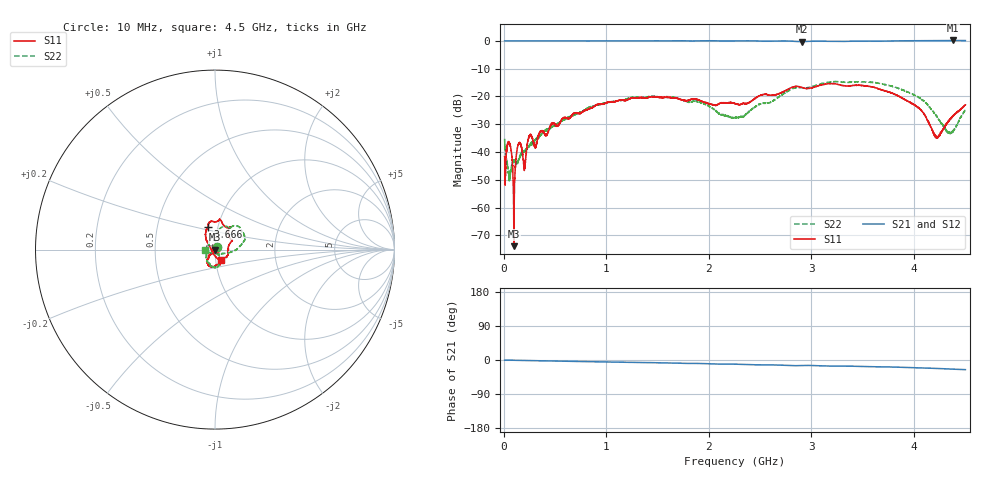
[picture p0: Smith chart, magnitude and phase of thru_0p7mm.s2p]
!Agilent Technologies,N5242A,US46520174,A.09.00.04
!Agilent N5242A: A.09.00.04
!Date: Monday, September 18, 2017 14:45:24
!Correction: S11(Full 2 Port(1,2))
!S21(Full 2 Port(1,2))
!S12(Full 2 Port(1,2))
!S22(Full 2 Port(1,2))
!S2P File: Measurements: S11, S21, S12, S22:
# Hz S  RI  R 50
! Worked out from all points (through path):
!   5001 points, 10 MHz to 4.5 GHz, reference 50 ohm
!   highest |S21| = 0.15 dB at 4.375 GHz (marker M1); lowest = -0.3 dB at 2.905 GHz (marker M2)
!   group delay of S21, straight-line fit = 14.2 ps
!   lowest |S11| = -73.9 dB at 100.7 MHz (marker M3), VSWR 1.00, Z = 50 - j0.0137 ohm
!   |S11| at or under -10 dB: start of sweep to end of sweep
!   |S22| runs from -50.7 to -14.6 dB; largest |S21 - S12| = 0.0069
!   S11 on the Smith chart (normalised r, x): 10 MHz: 1.01, +0.01; 3.666 GHz: 0.89, +0.23; 4.5 GHz: 1.07, -0.13
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1e7  0.00411 0.00721  0.9985 -0.00909  1.001 -0.00695  0.00864 0.015
5.6696e7  -0.0147 0.00114  1 -0.0077  1 -0.00785  0.00356 -0.00123
1.00698e8  -0.00015 -0.000137  0.9998 -0.0123  0.9996 -0.0118  0.00614 -0.00303
1.50986e8  -0.0115 -0.00781  0.999 -0.0163  0.9997 -0.0169  0.00612 -0.00424
2.0307e8  -0.004 -0.00335  0.9997 -0.0209  0.9996 -0.0212  0.00684 -0.00802
2.5695e8  -0.0147 -0.0138  0.9997 -0.0261  0.9998 -0.026  0.00933 -0.00972
3.08136e8  -0.0099 -0.00739  0.9995 -0.0301  0.9991 -0.0303  0.0106 -0.0129
3.57526e8  -0.0154 -0.0167  0.9985 -0.0358  0.9992 -0.0354  0.013 -0.0152
4.19488e8  -0.0139 -0.0146  0.9987 -0.04  0.9989 -0.0388  0.0148 -0.0214
4.7247e8  -0.0226 -0.0241  0.9991 -0.0449  0.9991 -0.0448  0.0159 -0.024
7.58932e8  -0.0329 -0.0391  0.9973 -0.0709  0.9976 -0.0707  0.0261 -0.0464
1.506966e9  -0.0225 -0.0945  0.9938 -0.1287  0.9932 -0.1294  -0.00672 -0.0988
1.90029e9  0.0283 -0.0822  0.9891 -0.1587  0.9892 -0.1592  -0.0419 -0.068
2.255e9  0.0712 -0.0221  0.9794 -0.1905  0.9806 -0.1925  -0.0413 0.00281
2.905152e9  0.0792 0.1226  0.9397 -0.2432  0.9419 -0.243  0.0794 0.1208
3.003932e9  0.0485 0.1346  0.9522 -0.2474  0.9536 -0.2466  0.087 0.1227
3.665758e9  -0.0398 0.1285  0.9397 -0.3039  0.9409 -0.3034  0.164 0.0488
3.751966e9  -0.0478 0.1103  0.9435 -0.3123  0.9446 -0.3119  0.1542 0.0362
4.052796e9  -0.043 0.0429  0.9412 -0.3596  0.9409 -0.3589  0.0937 -0.0124
4.219824e9  -0.0177 -0.00725  0.9376 -0.3847  0.938 -0.3849  0.0379 -0.0223
4.375178e9  0.00651 -0.0441  0.9284 -0.4152  0.9281 -0.4153  -0.0108 -0.0205
4.5e9  0.0362 -0.0603  0.914 -0.4349  0.9152 -0.436  -0.0572 -0.00448
